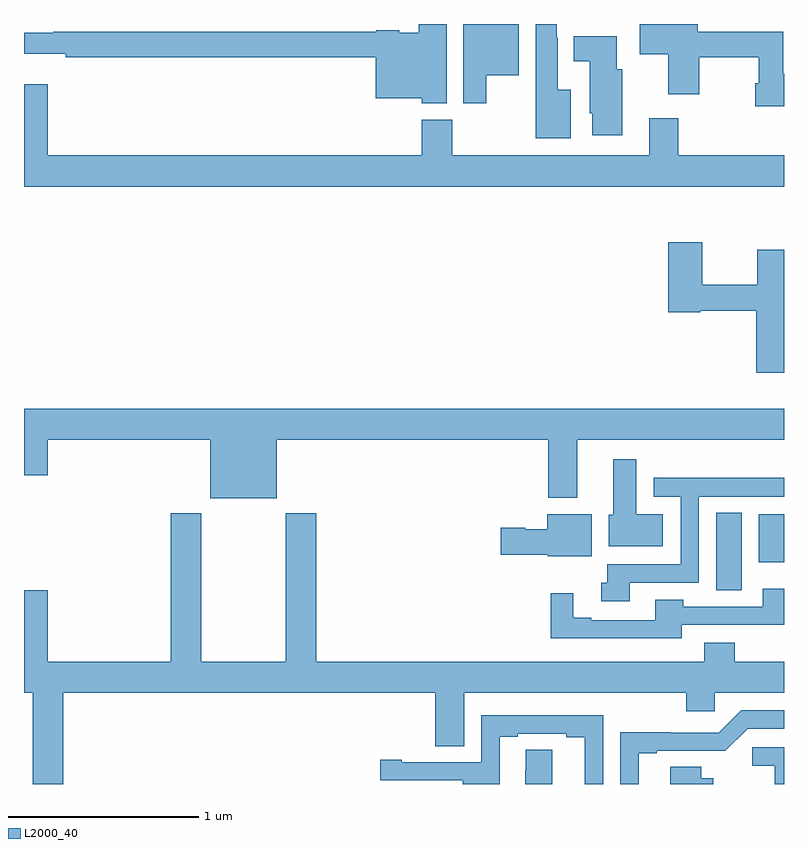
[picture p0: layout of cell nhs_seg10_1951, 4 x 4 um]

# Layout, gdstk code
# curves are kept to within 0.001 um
import gdstk
lib = gdstk.Library(unit=1e-6, precision=1e-09)
def R(c, l, rs):  # rectangles x0, y0, x1, y1
    for r in rs: c.add(gdstk.rectangle(r[:2], r[2:], *l))
def P(c, l, *ps):  # polygons
    for p in ps: c.add(gdstk.Polygon(p, *l))
L2000_40 = (2000, 40)

nhs_seg10_1951 = lib.new_cell('nhs_seg10_1951')
R(nhs_seg10_1951, L2000_40, [(216.644,1303.519,216.778,1303.928), (216.866,1303.667,217,1303.921)])
P(nhs_seg10_1951, L2000_40, [(217,1306.238),(216.995,1306.238),(216.995,1306.46),(216.547,1306.46),(216.547,1306.5),(216.24,1306.5),(216.24,1306.342),(216.392,1306.342),(216.392,1306.131),(216.555,1306.131),(216.555,1306.324),(216.867,1306.324),(216.867,1306.189),(216.848,1306.189),(216.848,1306.067),(217,1306.067)],
  [(215.434,1306.229),(215.605,1306.229),(215.605,1306.5),(215.312,1306.5),(215.312,1306.083),(215.434,1306.083)],
  [(215.878,1306.153),(215.809,1306.153),(215.809,1306.427),(215.805,1306.427),(215.805,1306.5),(215.693,1306.5),(215.693,1305.899),(215.878,1305.899)],
  [(215.224,1306.5),(215.078,1306.5),(215.078,1306.453),(214.974,1306.453),(214.974,1306.468),(214.854,1306.468),(214.854,1306.46),(213.154,1306.46),(213.154,1306.453),(213,1306.453),(213,1306.343),(213.22,1306.343),(213.22,1306.324),(214.85,1306.324),(214.85,1306.109),(215.094,1306.109),(215.094,1306.082),(215.224,1306.082)],
  [(216.148,1306.263),(216.121,1306.263),(216.121,1306.435),(215.894,1306.435),(215.894,1306.304),(215.978,1306.304),(215.978,1306.029),(215.99,1306.029),(215.99,1305.915),(216.148,1305.915)],
  [(217,1305.808),(216.443,1305.808),(216.443,1306.003),(216.29,1306.003),(216.29,1305.808),(215.253,1305.808),(215.253,1305.997),(215.093,1305.997),(215.093,1305.808),(213.124,1305.808),(213.124,1306.183),(213,1306.183),(213,1305.644),(217,1305.644)],
  [(217,1305.313),(216.859,1305.313),(216.859,1305.128),(216.57,1305.128),(216.57,1305.352),(216.392,1305.352),(216.392,1304.984),(216.558,1304.984),(216.558,1304.992),(216.854,1304.992),(216.854,1304.664),(217,1304.664)],
  [(214.33,1304.312),(215.759,1304.312),(215.759,1304.007),(215.911,1304.007),(215.911,1304.312),(217,1304.312),(217,1304.476),(213,1304.476),(213,1304.124),(213.124,1304.124),(213.124,1304.312),(213.98,1304.312),(213.98,1304.003),(214.33,1304.003)],
  [(216.361,1303.921),(216.223,1303.921),(216.223,1304.209),(216.101,1304.209),(216.101,1303.917),(216.077,1303.917),(216.077,1303.751),(216.361,1303.751)],
  [(216.187,1303.56),(216.552,1303.56),(216.552,1304.013),(217,1304.013),(217,1304.111),(216.315,1304.111),(216.315,1304.013),(216.456,1304.013),(216.456,1303.656),(216.07,1303.656),(216.07,1303.559),(216.039,1303.559),(216.039,1303.461),(216.187,1303.461)],
  [(213.206,1302.98),(215.165,1302.98),(215.165,1302.7),(215.317,1302.7),(215.317,1302.98),(216.485,1302.98),(216.485,1302.882),(216.636,1302.882),(216.636,1302.98),(217,1302.98),(217,1303.144),(216.741,1303.144),(216.741,1303.243),(216.581,1303.243),(216.581,1303.144),(214.538,1303.144),(214.538,1303.924),(214.378,1303.924),(214.378,1303.144),(213.933,1303.144),(213.933,1303.924),(213.773,1303.924),(213.773,1303.144),(213.124,1303.144),(213.124,1303.519),(213,1303.519),(213,1302.98),(213.046,1302.98),(213.046,1302.5),(213.206,1302.5)],
  [(215.989,1303.921),(215.753,1303.921),(215.753,1303.84),(215.639,1303.84),(215.639,1303.848),(215.508,1303.848),(215.508,1303.706),(215.757,1303.706),(215.757,1303.7),(215.989,1303.7)],
  [(216.463,1303.338),(217,1303.338),(217,1303.528),(216.887,1303.528),(216.887,1303.434),(216.471,1303.434),(216.471,1303.471),(216.323,1303.471),(216.323,1303.362),(215.986,1303.362),(215.986,1303.375),(215.89,1303.375),(215.89,1303.504),(215.773,1303.504),(215.773,1303.266),(216.463,1303.266)],
  [(216.235,1302.663),(216.331,1302.663),(216.331,1302.675),(216.692,1302.674),(216.81,1302.792),(217,1302.792),(217,1302.888),(216.774,1302.888),(216.657,1302.771),(216.401,1302.771),(216.401,1302.773),(216.138,1302.773),(216.138,1302.5),(216.235,1302.5)],
  [(215.503,1302.75),(215.599,1302.75),(215.599,1302.765),(215.855,1302.765),(215.855,1302.745),(215.951,1302.745),(215.951,1302.5),(216.048,1302.5),(216.048,1302.861),(215.406,1302.861),(215.406,1302.615),(214.987,1302.615),(214.987,1302.628),(214.875,1302.628),(214.875,1302.519),(215.309,1302.519),(215.309,1302.518),(215.31,1302.518),(215.31,1302.5),(215.503,1302.5)],
  [(217,1302.693),(216.834,1302.693),(216.834,1302.596),(216.95,1302.596),(216.95,1302.5),(217,1302.5)],
  [(215.779,1302.68),(215.64,1302.68),(215.64,1302.572),(215.639,1302.572),(215.639,1302.5),(215.779,1302.5)],
  [(216.628,1302.529),(216.565,1302.529),(216.565,1302.59),(216.401,1302.59),(216.401,1302.5),(216.628,1302.5)])

lib.write_gds('nhs_seg10_1951.gds')
